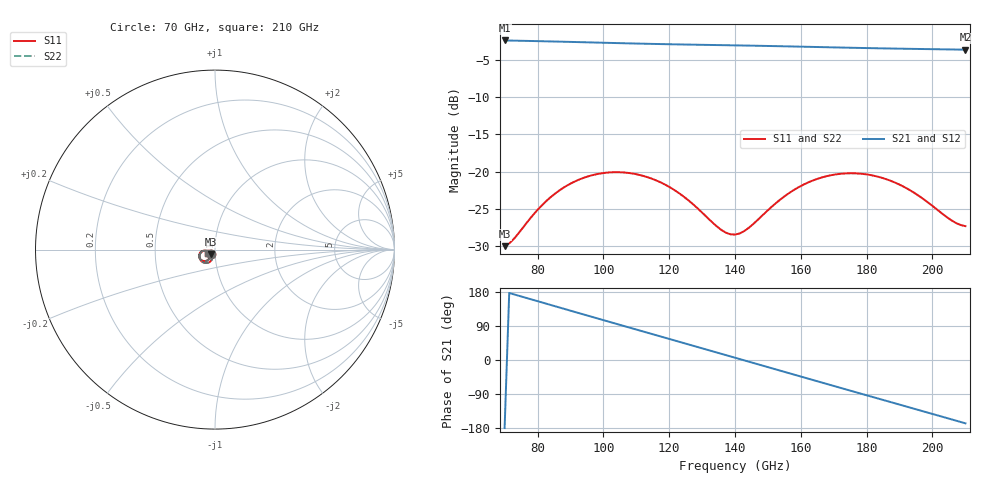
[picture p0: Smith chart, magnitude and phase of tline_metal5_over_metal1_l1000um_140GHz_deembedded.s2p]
! Created with skrf 2.2.0 (http://scikit-rf.org).
# GHz S DB R 50.0
! Port[1] = P1
! Port[2] = P2
!freq dBS11 angS11 dBS21 angS21 dBS12 angS12 dBS22 angS22
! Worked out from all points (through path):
!   101 points, 70 GHz to 210 GHz, reference 50 ohm
!   highest |S21| = -2.38 dB at 70 GHz (marker M1); lowest = -3.6 dB at 210 GHz (marker M2)
!   group delay of S21, straight-line fit = 6.89 ps
!   lowest |S11| = -30.0 dB at 70 GHz (marker M3), VSWR 1.07, Z = 47.9 - j2.28 ohm
!   |S11| at or under -10 dB: start of sweep to end of sweep
!   |S22| runs from -30.1 to -20.1 dB; largest |S21 - S12| = 8.7e-14
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70  -30.00 -131.1  -2.38 -179.6  -2.38 -179.6  -30.09 -131.2
75.6  -27.50 -110.4  -2.43 166.3  -2.43 166.3  -27.56 -110.2
81.2  -24.57 -108.0  -2.48 152.3  -2.48 152.3  -24.61 -107.7
86.8  -22.47 -113.6  -2.54 138.2  -2.54 138.2  -22.49 -113.3
93.8  -20.86 -124.7  -2.62 120.7  -2.62 120.7  -20.88 -124.5
99.4  -20.22 -134.8  -2.68 106.7  -2.68 106.7  -20.24 -134.6
105  -20.08 -145.0  -2.74 92.8  -2.74 92.8  -20.10 -144.9
110.6  -20.40 -154.9  -2.80 78.9  -2.80 78.9  -20.43 -154.8
117.6  -21.48 -165.7  -2.87 61.6  -2.87 61.6  -21.53 -165.7
128.8  -24.99 -173.7  -2.96 33.8  -2.96 33.8  -25.10 -173.6
135.8  -27.81 -162.5  -3.01 16.5  -3.01 16.5  -28.00 -162.0
140  -28.45 -147.1  -3.04 6.0  -3.04 6.0  -28.62 -146.0
144.2  -27.54 -132.6  -3.07 -4.4  -3.07 -4.4  -27.64 -131.0
151.2  -24.69 -123.4  -3.13 -21.8  -3.13 -21.8  -24.70 -122.0
156.8  -22.77 -125.5  -3.18 -35.7  -3.18 -35.7  -22.75 -124.3
163.8  -21.16 -133.3  -3.25 -53.1  -3.25 -53.1  -21.13 -132.2
170.8  -20.35 -143.3  -3.32 -70.4  -3.32 -70.4  -20.32 -142.4
176.4  -20.22 -151.8  -3.37 -84.2  -3.37 -84.2  -20.18 -150.9
182  -20.53 -160.0  -3.42 -98.0  -3.42 -98.0  -20.48 -159.1
187.6  -21.28 -167.2  -3.47 -111.8  -3.47 -111.8  -21.23 -166.4
200.2  -24.67 -173.5  -3.55 -142.9  -3.55 -142.9  -24.60 -172.9
210  -27.31 -154.1  -3.62 -167.1  -3.62 -167.1  -27.24 -153.8
